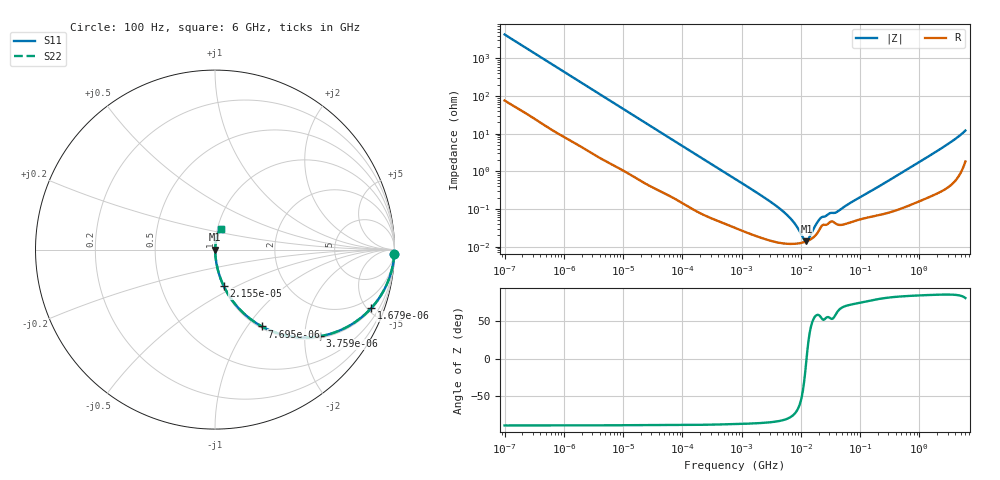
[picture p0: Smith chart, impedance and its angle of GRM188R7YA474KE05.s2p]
!Murata Part Number: GRM188R7YA474KE05
!These Parameters are Measured in Series Mode Connection
!Data Generated on Mar 30, 2021
!  o--ll--o
!Port1  Port2
!  o------o
!Operation Temp=25[degC], DC Bias Voltage=0[V]
!Freq. Start=100[Hz] Stop=6[GHz] 401[Steps]
# Hz S RI R 50
!Freq.(Hz) S11(Real) S11(Imag) S21(Real) S21(Imag) S12(Real) S12(Imag) S22(Real) S22(Imag)
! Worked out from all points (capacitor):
!   401 points, 100 Hz to 6 GHz, reference 50 ohm
!   read as one part in series: C = 370 nF near 109 Hz
!   lowest |Z| = 13.8 mohm at 12.44 MHz (marker M1)
!   series resonance near 12.48 MHz, so ESL is about 440 pH
!   S11 on the Smith chart (normalised r, x): 100 Hz: 3, -86; 1.679 kHz: 1.10, -5.27; 3.759 kHz: 1.05, -2.38; 7.695 kHz: 1.03, -1.17; 21.55 kHz: 1.01, -0.43; 6 GHz: 1.04, +0.24
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100  0.999 -0.0233  0.000955 0.0233  0.000955 0.0233  0.999 -0.0233
501  0.985 -0.1128  0.015 0.1128  0.015 0.1128  0.985 -0.1128
1679  0.8695 -0.3272  0.1305 0.3272  0.1305 0.3272  0.8695 -0.3272
2008  0.8252 -0.37  0.1748 0.37  0.1748 0.37  0.8252 -0.37
3759  0.5843 -0.4828  0.4157 0.4828  0.4157 0.4828  0.5843 -0.4828
7695  0.2607 -0.4279  0.7393 0.4279  0.7393 0.4279  0.2607 -0.4279
12592  0.1211 -0.3147  0.8789 0.3147  0.8789 0.3147  0.1211 -0.3147
21550  0.0478 -0.2015  0.9522 0.2015  0.9522 0.2015  0.0478 -0.2015
40335  0.0159 -0.1125  0.9841 0.1125  0.9841 0.1125  0.0159 -0.1125
774597  0.000355 -0.00629  0.9996 0.00629  0.9996 0.00629  0.000355 -0.00629
5079039  0.000122 -0.000842  0.9999 0.000842  0.9999 0.000842  0.000122 -0.000842
7266822  0.000118 -0.000469  0.9999 0.000469  0.9999 0.000469  0.000118 -0.000469
1.137099e7  0.000132 -7.82e-05  0.9999 7.82e-05  0.9999 7.82e-05  0.000132 -7.82e-05
1.243624e7  0.000138 -3.1e-06  0.9999 3.1e-06  0.9999 3.1e-06  0.000138 -3.1e-06
1.360128e7  0.000147 7.29e-05  0.9999 -7.29e-05  0.9999 -7.29e-05  0.000147 7.29e-05
1.555665e7  0.000166 0.00019  0.9998 -0.00019  0.9998 -0.00019  0.000166 0.00019
1.946e7  0.000242 0.0004  0.9998 -0.0004  0.9998 -0.0004  0.000242 0.0004
2.225763e7  0.000347 0.000487  0.9997 -0.000487  0.9997 -0.000487  0.000347 0.000487
4.165952e7  0.000387 0.000762  0.9996 -0.000762  0.9996 -0.000762  0.000387 0.000762
3.124326e8  0.00084 0.00576  0.9992 -0.00576  0.9992 -0.00576  0.00084 0.00576
2.34314e9  0.00452 0.0401  0.9955 -0.0401  0.9955 -0.0401  0.00452 0.0401
6e9  0.0312 0.1135  0.9688 -0.1135  0.9688 -0.1135  0.0312 0.1135
